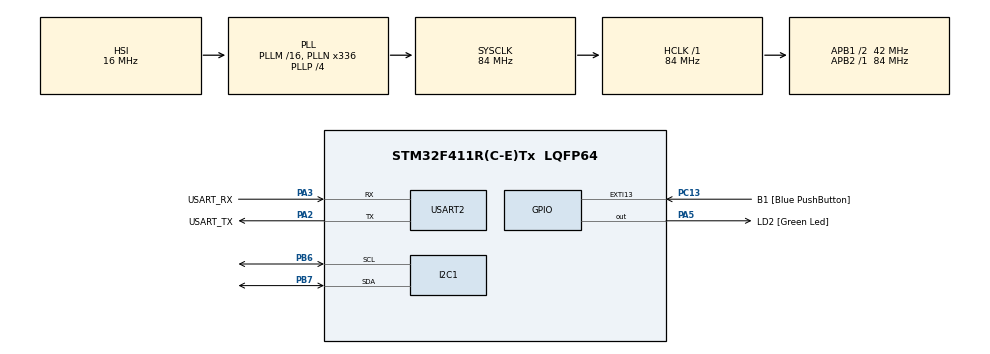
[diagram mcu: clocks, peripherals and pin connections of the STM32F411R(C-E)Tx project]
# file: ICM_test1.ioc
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I2C1.I2C_Mode=I2C_Fast
Mcu.Family=STM32F4
Mcu.Name=STM32F411R(C-E)Tx
Mcu.Package=LQFP64
NVIC.PriorityGroup=NVIC_PRIORITYGROUP_0
PA13.GPIO_Label=TMS
PA13.Mode=Serial_Wire
PA13.Signal=SYS_JTMS-SWDIO
PA14.GPIO_Label=TCK
PA14.Mode=Serial_Wire
PA14.Signal=SYS_JTCK-SWCLK
PA2.GPIO_Label=USART_TX
PA2.Mode=Asynchronous
PA2.Signal=USART2_TX
PA3.GPIO_Label=USART_RX
PA3.Mode=Asynchronous
PA3.Signal=USART2_RX
PA5.GPIO_Label=LD2 [Green Led]
PA5.Signal=GPIO_Output
PB3.GPIO_Label=SWO
PB3.Signal=SYS_JTDO-SWO
PB6.Mode=I2C
PB6.Signal=I2C1_SCL
PB7.Mode=I2C
PB7.Signal=I2C1_SDA
PC13-ANTI_TAMP.GPIO_Label=B1 [Blue PushButton]
PC13-ANTI_TAMP.GPIO_ModeDefaultEXTI=GPIO_MODE_IT_FALLING
PC13-ANTI_TAMP.Signal=GPXTI13
PC14-OSC32_IN.Mode=LSE-External-Oscillator
PC14-OSC32_IN.Signal=RCC_OSC32_IN
PC15-OSC32_OUT.Mode=LSE-External-Oscillator
PC15-OSC32_OUT.Signal=RCC_OSC32_OUT
PH0\ -\ OSC_IN.Mode=HSE-External-Clock-Source
PH0\ -\ OSC_IN.Signal=RCC_OSC_IN
PH1\ -\ OSC_OUT.Mode=HSE-External-Clock-Source
PH1\ -\ OSC_OUT.Signal=RCC_OSC_OUT
ProjectManager.HeapSize=0x200
ProjectManager.StackSize=0x400
ProjectManager.TargetToolchain=STM32CubeIDE
RCC.48MHZClocksFreq_Value=84000000
RCC.AHBFreq_Value=84000000
RCC.APB1CLKDivider=RCC_HCLK_DIV2
RCC.APB1Freq_Value=42000000
RCC.APB1TimFreq_Value=84000000
RCC.APB2Freq_Value=84000000
RCC.APB2TimFreq_Value=84000000
RCC.CortexFreq_Value=84000000
RCC.FLatency-AdvancedSettings=FLASH_LATENCY_2
RCC.HCLKFreq_Value=84000000
RCC.HSE_VALUE=8000000
RCC.HSI_VALUE=16000000
RCC.PLLN=336
RCC.PLLP=RCC_PLLP_DIV4
RCC.SYSCLKFreq_VALUE=84000000
RCC.SYSCLKSource=RCC_SYSCLKSOURCE_PLLCLK
RCC.VCOOutputFreq_Value=336000000
USART2.VirtualMode=VM_ASYNC
board=NUCLEO-F411RE

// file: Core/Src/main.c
/* USER CODE BEGIN Header */
/**
  ******************************************************************************
  * @file           : main.c
  * @brief          : Main program body
  ******************************************************************************
  * @attention
  *
  * Copyright (c) 2026 STMicroelectronics.
  * All rights reserved.
  *
  * This software is licensed under terms that can be found in the LICENSE file
  * in the root directory of this software component.
  * If no LICENSE file comes with this software, it is provided AS-IS.
  *
  ******************************************************************************
  */
/* USER CODE END Header */
#include "main.h"

/* USER CODE BEGIN Includes */
#include "icm20948.h"
#include <stdio.h>
/* USER CODE END Includes */

I2C_HandleTypeDef hi2c1;

UART_HandleTypeDef huart2;

/* USER CODE BEGIN PV */
ICM20948_HandleTypeDef hicm20948;
/* USER CODE END PV */

void SystemClock_Config(void);
static void MX_GPIO_Init(void);
static void MX_USART2_UART_Init(void);
static void MX_I2C1_Init(void);

int main(void)
{

  /* MCU Configuration--------------------------------------------------------*/

  /* Reset of all peripherals, Initializes the Flash interface and the Systick. */
  HAL_Init();

  /* Configure the system clock */
  SystemClock_Config();

  /* Initialize all configured peripherals */
  MX_GPIO_Init();
  MX_USART2_UART_Init();
  MX_I2C1_Init();
  /* USER CODE BEGIN 2 */
  if (ICM20948_Init(&hicm20948, &hi2c1) != HAL_OK) {
    while (1) {
      HAL_GPIO_TogglePin(LD2_GPIO_Port, LD2_Pin);
      HAL_Delay(200);
    }
  }
  HAL_Delay(100);
  /* USER CODE END 2 */

  /* Infinite loop */
  while (1)
  {

    /* USER CODE BEGIN 3 */
    ICM20948_AxisRaw_t accel_raw, gyro_raw, mag_raw;
    ICM20948_Axis_t accel_g, gyro_dps, mag_ut;
    char msg[160];

    if (ICM20948_ReadAll(&hicm20948, &accel_raw, &accel_g, &gyro_raw, &gyro_dps, &mag_raw, &mag_ut) == HAL_OK) {
      int n = snprintf(msg, sizeof(msg),
          "================\r\nA: %d %d %d (%.2f %.2f %.2f g)\r\nG: %d %d %d (%.1f %.1f %.1f dps)\r\nM: %d %d %d (%.1f %.1f %.1f uT)\r\n================\r\n",
          (int)accel_raw.x, (int)accel_raw.y, (int)accel_raw.z,
          (double)accel_g.x, (double)accel_g.y, (double)accel_g.z,
          (int)gyro_raw.x, (int)gyro_raw.y, (int)gyro_raw.z,
          (double)gyro_dps.x, (double)gyro_dps.y, (double)gyro_dps.z,
          (int)mag_raw.x, (int)mag_raw.y, (int)mag_raw.z,
          (double)mag_ut.x, (double)mag_ut.y, (double)mag_ut.z);
      if (n > 0 && (size_t)n < sizeof(msg))
        HAL_UART_Transmit(&huart2, (uint8_t *)msg, (uint16_t)n, 100);
    }
    HAL_Delay(200);
  }
  /* USER CODE END 3 */
}

void SystemClock_Config(void)
{
  RCC_OscInitTypeDef RCC_OscInitStruct = {0};
  RCC_ClkInitTypeDef RCC_ClkInitStruct = {0};

  /** Configure the main internal regulator output voltage
  */
  __HAL_RCC_PWR_CLK_ENABLE();
  __HAL_PWR_VOLTAGESCALING_CONFIG(PWR_REGULATOR_VOLTAGE_SCALE1);

  /** Initializes the RCC Oscillators according to the specified parameters
  * in the RCC_OscInitTypeDef structure.
  */
  RCC_OscInitStruct.OscillatorType = RCC_OSCILLATORTYPE_HSI;
  RCC_OscInitStruct.HSIState = RCC_HSI_ON;
  RCC_OscInitStruct.HSICalibrationValue = RCC_HSICALIBRATION_DEFAULT;
  RCC_OscInitStruct.PLL.PLLState = RCC_PLL_ON;
  RCC_OscInitStruct.PLL.PLLSource = RCC_PLLSOURCE_HSI;
  RCC_OscInitStruct.PLL.PLLM = 16;
  RCC_OscInitStruct.PLL.PLLN = 336;
  RCC_OscInitStruct.PLL.PLLP = RCC_PLLP_DIV4;
  RCC_OscInitStruct.PLL.PLLQ = 4;
  if (HAL_RCC_OscConfig(&RCC_OscInitStruct) != HAL_OK)
  {
    Error_Handler();
  }

  /** Initializes the CPU, AHB and APB buses clocks
  */
  RCC_ClkInitStruct.ClockType = RCC_CLOCKTYPE_HCLK|RCC_CLOCKTYPE_SYSCLK
                              |RCC_CLOCKTYPE_PCLK1|RCC_CLOCKTYPE_PCLK2;
  RCC_ClkInitStruct.SYSCLKSource = RCC_SYSCLKSOURCE_PLLCLK;
  RCC_ClkInitStruct.AHBCLKDivider = RCC_SYSCLK_DIV1;
  RCC_ClkInitStruct.APB1CLKDivider = RCC_HCLK_DIV2;
  RCC_ClkInitStruct.APB2CLKDivider = RCC_HCLK_DIV1;

  if (HAL_RCC_ClockConfig(&RCC_ClkInitStruct, FLASH_LATENCY_2) != HAL_OK)
  {
    Error_Handler();
  }
}

static void MX_I2C1_Init(void)
{

  hi2c1.Instance = I2C1;
  hi2c1.Init.ClockSpeed = 400000;
  hi2c1.Init.DutyCycle = I2C_DUTYCYCLE_2;
  hi2c1.Init.OwnAddress1 = 0;
  hi2c1.Init.AddressingMode = I2C_ADDRESSINGMODE_7BIT;
  hi2c1.Init.DualAddressMode = I2C_DUALADDRESS_DISABLE;
  hi2c1.Init.OwnAddress2 = 0;
  hi2c1.Init.GeneralCallMode = I2C_GENERALCALL_DISABLE;
  hi2c1.Init.NoStretchMode = I2C_NOSTRETCH_DISABLE;
  if (HAL_I2C_Init(&hi2c1) != HAL_OK)
  {
    Error_Handler();
  }

}

static void MX_USART2_UART_Init(void)
{

  huart2.Instance = USART2;
  huart2.Init.BaudRate = 115200;
  huart2.Init.WordLength = UART_WORDLENGTH_8B;
  huart2.Init.StopBits = UART_STOPBITS_1;
  huart2.Init.Parity = UART_PARITY_NONE;
  huart2.Init.Mode = UART_MODE_TX_RX;
  huart2.Init.HwFlowCtl = UART_HWCONTROL_NONE;
  huart2.Init.OverSampling = UART_OVERSAMPLING_16;
  if (HAL_UART_Init(&huart2) != HAL_OK)
  {
    Error_Handler();
  }

}

static void MX_GPIO_Init(void)
{
  GPIO_InitTypeDef GPIO_InitStruct = {0};

  /* GPIO Ports Clock Enable */
  __HAL_RCC_GPIOC_CLK_ENABLE();
  __HAL_RCC_GPIOH_CLK_ENABLE();
  __HAL_RCC_GPIOA_CLK_ENABLE();
  __HAL_RCC_GPIOB_CLK_ENABLE();

  /*Configure GPIO pin Output Level */
  HAL_GPIO_WritePin(LD2_GPIO_Port, LD2_Pin, GPIO_PIN_RESET);

  /*Configure GPIO pin : B1_Pin */
  GPIO_InitStruct.Pin = B1_Pin;
  GPIO_InitStruct.Mode = GPIO_MODE_IT_FALLING;
  GPIO_InitStruct.Pull = GPIO_NOPULL;
  HAL_GPIO_Init(B1_GPIO_Port, &GPIO_InitStruct);

  /*Configure GPIO pin : LD2_Pin */
  GPIO_InitStruct.Pin = LD2_Pin;
  GPIO_InitStruct.Mode = GPIO_MODE_OUTPUT_PP;
  GPIO_InitStruct.Pull = GPIO_NOPULL;
  GPIO_InitStruct.Speed = GPIO_SPEED_FREQ_LOW;
  HAL_GPIO_Init(LD2_GPIO_Port, &GPIO_InitStruct);

}

void Error_Handler(void)
{
  __disable_irq();
  while (1)
  {
  }
}
